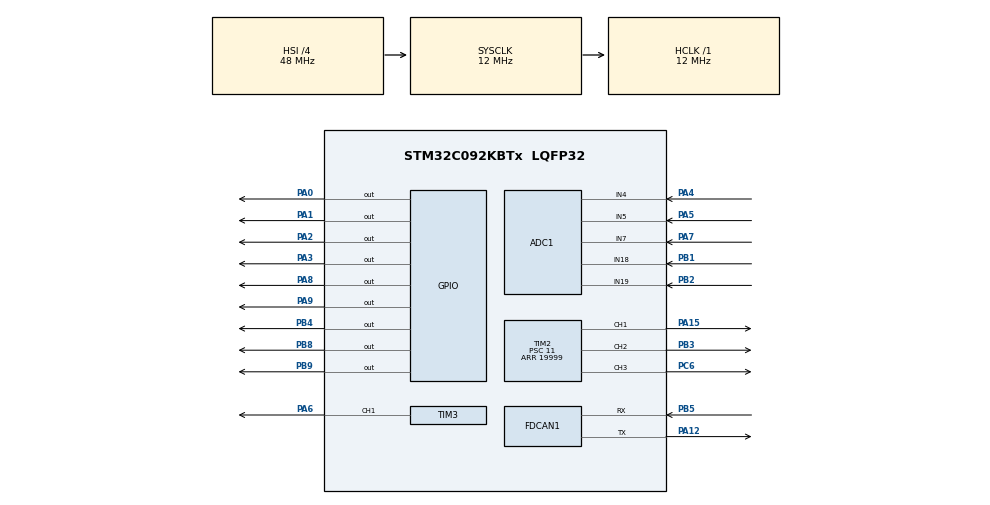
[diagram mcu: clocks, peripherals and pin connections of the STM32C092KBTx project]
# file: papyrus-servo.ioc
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ADC1.NbrOfConversionFlag=0
ADC1.SelectedChannel=ADC_CHANNEL_4|ADC_CHANNEL_5|ADC_CHANNEL_7|ADC_CHANNEL_18|ADC_CHANNEL_19
ADC1.master=1
FDCAN1.AutoRetransmission=ENABLE
FDCAN1.CalculateBaudRateNominal=250000
FDCAN1.CalculateTimeBitNominal=4000
FDCAN1.CalculateTimeQuantumNominal=250.0
FDCAN1.NominalPrescaler=4
FDCAN1.NominalTimeSeg1=13
FDCAN1.NominalTimeSeg2=2
FDCAN1.StdFiltersNbr=1
Mcu.Family=STM32C0
Mcu.Name=STM32C092KBTx
Mcu.Package=LQFP32
PA0.PinState=GPIO_PIN_SET
PA0.Signal=GPIO_Output
PA1.PinState=GPIO_PIN_SET
PA1.Signal=GPIO_Output
PA12\ [PA10].Mode=FDCAN_Activate
PA12\ [PA10].Signal=FDCAN1_TX
PA13.Mode=Serial_Wire
PA13.Signal=DEBUG_SWDIO
PA14-BOOT0.Mode=Serial_Wire
PA14-BOOT0.Signal=DEBUG_SWCLK
PA15.Signal=S_TIM2_CH1
PA2.PinState=GPIO_PIN_SET
PA2.Signal=GPIO_Output
PA3.PinState=GPIO_PIN_SET
PA3.Signal=GPIO_Output
PA4.Mode=IN4
PA4.Signal=ADC1_IN4
PA5.Mode=IN5
PA5.Signal=ADC1_IN5
PA6.Signal=S_TIM3_CH1
PA7.Mode=IN7
PA7.Signal=ADC1_IN7
PA8.Signal=GPIO_Output
PA9.Signal=GPIO_Output
PB1.Mode=IN18
PB1.Signal=ADC1_IN18
PB2.Mode=IN19
PB2.Signal=ADC1_IN19
PB3.Signal=S_TIM2_CH2
PB4.PinState=GPIO_PIN_SET
PB4.Signal=GPIO_Output
PB5.Mode=FDCAN_Activate
PB5.Signal=FDCAN1_RX
PB8.Signal=GPIO_Output
PB9.Signal=GPIO_Output
PC6.Signal=S_TIM2_CH3
ProjectManager.HeapSize=0x200
ProjectManager.StackSize=0x400
ProjectManager.TargetToolchain=Makefile
RCC.ADCFreq_Value=12000000
RCC.AHBFreq_Value=12000000
RCC.CortexFreq_Value=12000000
RCC.EXTERNAL_CLOCK_VALUE=12288000
RCC.FDCAN1CLockSelection=RCC_FDCAN1CLKSOURCE_HSIKER
RCC.HCLKFreq_Value=12000000
RCC.HSE_VALUE=8000000
RCC.HSI_VALUE=48000000
RCC.LSE_VALUE=32768
RCC.SYSCLKFreq_VALUE=12000000
SH.S_TIM2_CH1.0=TIM2_CH1,PWM Generation1 CH1
SH.S_TIM2_CH2.0=TIM2_CH2,PWM Generation2 CH2
SH.S_TIM2_CH3.0=TIM2_CH3,PWM Generation3 CH3
SH.S_TIM3_CH1.0=TIM3_CH1,PWM Generation1 CH1
TIM2.AutoReloadPreload=TIM_AUTORELOAD_PRELOAD_ENABLE
TIM2.Channel-PWM\ Generation1\ CH1=TIM_CHANNEL_1
TIM2.Channel-PWM\ Generation2\ CH2=TIM_CHANNEL_2
TIM2.Channel-PWM\ Generation3\ CH3=TIM_CHANNEL_3
TIM2.Period=19999
TIM2.Prescaler=11
TIM2.Pulse-PWM\ Generation1\ CH1=1500
TIM2.Pulse-PWM\ Generation2\ CH2=1500
TIM2.Pulse-PWM\ Generation3\ CH3=1500
TIM3.Channel-PWM\ Generation1\ CH1=TIM_CHANNEL_1
TIM3.Period=19999
TIM3.Prescaler=11
board=custom

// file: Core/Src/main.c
/* USER CODE BEGIN Header */
/**
  ******************************************************************************
  * @file           : main.c
  * @brief          : Main program body
  ******************************************************************************
  * @attention
  *
  * Copyright (c) 2026 STMicroelectronics.
  * All rights reserved.
  *
  * This software is licensed under terms that can be found in the LICENSE file
  * in the root directory of this software component.
  * If no LICENSE file comes with this software, it is provided AS-IS.
  *
  ******************************************************************************
  */
/* USER CODE END Header */
#include "main.h"

/* USER CODE BEGIN PD */
#define CAN_CMD_ID     200
/* USER CODE END PD */

ADC_HandleTypeDef hadc1;

FDCAN_HandleTypeDef hfdcan1;

TIM_HandleTypeDef htim2;
TIM_HandleTypeDef htim3;

void SystemClock_Config(void);
static void MX_GPIO_Init(void);
static void MX_ADC1_Init(void);
static void MX_FDCAN1_Init(void);
static void MX_TIM2_Init(void);
static void MX_TIM3_Init(void);

/* USER CODE BEGIN 0 */
void CAN_SendAck(uint8_t *data, uint8_t len)
{
  FDCAN_TxHeaderTypeDef txHeader = {0};

  txHeader.Identifier = CAN_CMD_ID;
  txHeader.IdType = FDCAN_STANDARD_ID;
  txHeader.TxFrameType = FDCAN_DATA_FRAME;
  txHeader.DataLength = len;
  txHeader.ErrorStateIndicator = FDCAN_ESI_ACTIVE;
  txHeader.BitRateSwitch = FDCAN_BRS_OFF;
  txHeader.FDFormat = FDCAN_CLASSIC_CAN;
  txHeader.TxEventFifoControl = FDCAN_NO_TX_EVENTS;
  txHeader.MessageMarker = 0;

  while (HAL_FDCAN_GetTxFifoFreeLevel(&hfdcan1) == 0);
  HAL_FDCAN_AddMessageToTxFifoQ(&hfdcan1, &txHeader, data);
}
/* USER CODE END 0 */

int main(void)
{

  /* MCU Configuration--------------------------------------------------------*/

  /* Reset of all peripherals, Initializes the Flash interface and the Systick. */
  HAL_Init();

  /* Configure the system clock */
  SystemClock_Config();

  /* Initialize all configured peripherals */
  MX_GPIO_Init();
  MX_ADC1_Init();
  MX_FDCAN1_Init();
  MX_TIM2_Init();
  MX_TIM3_Init();
  /* USER CODE BEGIN 2 */
  HAL_FDCAN_Start(&hfdcan1);
  HAL_TIM_PWM_Start(&htim2, TIM_CHANNEL_1);
  HAL_TIM_PWM_Start(&htim2, TIM_CHANNEL_2);
  HAL_TIM_PWM_Start(&htim2, TIM_CHANNEL_3);
  HAL_TIM_PWM_Start(&htim3, TIM_CHANNEL_1);

  FDCAN_RxHeaderTypeDef rxHeader;
  uint8_t rxData[8];
  uint8_t txData[8];

  /* USER CODE END 2 */

  /* Infinite loop */
  while (1)
  {

    /* USER CODE BEGIN 3 */
    if (HAL_FDCAN_GetRxFifoFillLevel(&hfdcan1, FDCAN_RX_FIFO0) > 0)
    {
      HAL_FDCAN_GetRxMessage(&hfdcan1, FDCAN_RX_FIFO0, &rxHeader, rxData);

      txData[0] = rxData[0];
      txData[1] = 0x00; // OK

      int servo_val = rxData[1] | (rxData[2] << 8);

      switch (rxData[0])
      {
        case 0x00:
          txData[1] = 0x02; break;
        case 0x01: HAL_GPIO_WritePin(GPIOA, GPIO_PIN_0, GPIO_PIN_SET);   break;
        case 0x02: HAL_GPIO_WritePin(GPIOA, GPIO_PIN_1, GPIO_PIN_SET);   break;
        case 0x03: HAL_GPIO_WritePin(GPIOA, GPIO_PIN_2, GPIO_PIN_SET);   break;
        case 0x04: HAL_GPIO_WritePin(GPIOA, GPIO_PIN_3, GPIO_PIN_SET);   break;
        case 0x05: HAL_GPIO_WritePin(GPIOA, GPIO_PIN_0, GPIO_PIN_RESET);   break;
        case 0x06: HAL_GPIO_WritePin(GPIOA, GPIO_PIN_1, GPIO_PIN_RESET);   break;
        case 0x07: HAL_GPIO_WritePin(GPIOA, GPIO_PIN_2, GPIO_PIN_RESET);   break;
        case 0x08: HAL_GPIO_WritePin(GPIOA, GPIO_PIN_3, GPIO_PIN_RESET);   break;
        case 0x11: TIM2->CCR1 = servo_val; break;
        case 0x12: TIM2->CCR2 = servo_val; break;
        case 0x13: TIM2->CCR3 = servo_val; break;
        case 0x14: TIM3->CCR1 = servo_val; break;
        case 0x15: *(uint16_t*)(&txData[1]) = TIM2->CCR1; CAN_SendAck(txData, 3);break;
        case 0x16: *(uint16_t*)(&txData[1]) = TIM2->CCR2; CAN_SendAck(txData, 3);break;
        case 0x17: *(uint16_t*)(&txData[1]) = TIM2->CCR3; CAN_SendAck(txData, 3);break;
        case 0x18: *(uint16_t*)(&txData[1]) = TIM3->CCR1; CAN_SendAck(txData, 3);break;
        case 0xFF:
          CAN_SendAck(txData, 2);
          HAL_Delay(10);
          NVIC_SystemReset();
          break;

        default:
          continue;
      }

      CAN_SendAck(txData, 2);
    }
  }
  /* USER CODE END 3 */
}

void SystemClock_Config(void)
{
  RCC_OscInitTypeDef RCC_OscInitStruct = {0};
  RCC_ClkInitTypeDef RCC_ClkInitStruct = {0};

  __HAL_FLASH_SET_LATENCY(FLASH_LATENCY_0);

  /** Initializes the RCC Oscillators according to the specified parameters
  * in the RCC_OscInitTypeDef structure.
  */
  RCC_OscInitStruct.OscillatorType = RCC_OSCILLATORTYPE_HSI;
  RCC_OscInitStruct.HSIState = RCC_HSI_ON;
  RCC_OscInitStruct.HSIDiv = RCC_HSI_DIV4;
  RCC_OscInitStruct.HSICalibrationValue = RCC_HSICALIBRATION_DEFAULT;
  if (HAL_RCC_OscConfig(&RCC_OscInitStruct) != HAL_OK)
  {
    Error_Handler();
  }

  /** Initializes the CPU, AHB and APB buses clocks
  */
  RCC_ClkInitStruct.ClockType = RCC_CLOCKTYPE_HCLK|RCC_CLOCKTYPE_SYSCLK
                              |RCC_CLOCKTYPE_PCLK1;
  RCC_ClkInitStruct.SYSCLKSource = RCC_SYSCLKSOURCE_HSI;
  RCC_ClkInitStruct.SYSCLKDivider = RCC_SYSCLK_DIV1;
  RCC_ClkInitStruct.AHBCLKDivider = RCC_HCLK_DIV1;
  RCC_ClkInitStruct.APB1CLKDivider = RCC_APB1_DIV1;

  if (HAL_RCC_ClockConfig(&RCC_ClkInitStruct, FLASH_LATENCY_0) != HAL_OK)
  {
    Error_Handler();
  }
}

static void MX_ADC1_Init(void)
{

  ADC_ChannelConfTypeDef sConfig = {0};

  /** Configure the global features of the ADC (Clock, Resolution, Data Alignment and number of conversion)
  */
  hadc1.Instance = ADC1;
  hadc1.Init.ClockPrescaler = ADC_CLOCK_SYNC_PCLK_DIV1;
  hadc1.Init.Resolution = ADC_RESOLUTION_12B;
  hadc1.Init.DataAlign = ADC_DATAALIGN_RIGHT;
  hadc1.Init.ScanConvMode = ADC_SCAN_SEQ_FIXED;
  hadc1.Init.EOCSelection = ADC_EOC_SINGLE_CONV;
  hadc1.Init.LowPowerAutoWait = DISABLE;
  hadc1.Init.LowPowerAutoPowerOff = DISABLE;
  hadc1.Init.ContinuousConvMode = DISABLE;
  hadc1.Init.NbrOfConversion = 1;
  hadc1.Init.DiscontinuousConvMode = DISABLE;
  hadc1.Init.ExternalTrigConv = ADC_SOFTWARE_START;
  hadc1.Init.ExternalTrigConvEdge = ADC_EXTERNALTRIGCONVEDGE_NONE;
  hadc1.Init.DMAContinuousRequests = DISABLE;
  hadc1.Init.Overrun = ADC_OVR_DATA_PRESERVED;
  hadc1.Init.SamplingTimeCommon1 = ADC_SAMPLETIME_1CYCLE_5;
  hadc1.Init.OversamplingMode = DISABLE;
  hadc1.Init.TriggerFrequencyMode = ADC_TRIGGER_FREQ_HIGH;
  if (HAL_ADC_Init(&hadc1) != HAL_OK)
  {
    Error_Handler();
  }

  /** Configure Regular Channel
  */
  sConfig.Channel = ADC_CHANNEL_4;
  sConfig.Rank = ADC_RANK_CHANNEL_NUMBER;
  if (HAL_ADC_ConfigChannel(&hadc1, &sConfig) != HAL_OK)
  {
    Error_Handler();
  }

  /** Configure Regular Channel
  */
  sConfig.Channel = ADC_CHANNEL_5;
  if (HAL_ADC_ConfigChannel(&hadc1, &sConfig) != HAL_OK)
  {
    Error_Handler();
  }

  /** Configure Regular Channel
  */
  sConfig.Channel = ADC_CHANNEL_7;
  if (HAL_ADC_ConfigChannel(&hadc1, &sConfig) != HAL_OK)
  {
    Error_Handler();
  }

  /** Configure Regular Channel
  */
  sConfig.Channel = ADC_CHANNEL_18;
  if (HAL_ADC_ConfigChannel(&hadc1, &sConfig) != HAL_OK)
  {
    Error_Handler();
  }

  /** Configure Regular Channel
  */
  sConfig.Channel = ADC_CHANNEL_19;
  if (HAL_ADC_ConfigChannel(&hadc1, &sConfig) != HAL_OK)
  {
    Error_Handler();
  }

}

static void MX_FDCAN1_Init(void)
{

  hfdcan1.Instance = FDCAN1;
  hfdcan1.Init.ClockDivider = FDCAN_CLOCK_DIV1;
  hfdcan1.Init.FrameFormat = FDCAN_FRAME_CLASSIC;
  hfdcan1.Init.Mode = FDCAN_MODE_NORMAL;
  hfdcan1.Init.AutoRetransmission = ENABLE;
  hfdcan1.Init.TransmitPause = DISABLE;
  hfdcan1.Init.ProtocolException = DISABLE;
  hfdcan1.Init.NominalPrescaler = 4;
  hfdcan1.Init.NominalSyncJumpWidth = 1;
  hfdcan1.Init.NominalTimeSeg1 = 13;
  hfdcan1.Init.NominalTimeSeg2 = 2;
  hfdcan1.Init.DataPrescaler = 1;
  hfdcan1.Init.DataSyncJumpWidth = 1;
  hfdcan1.Init.DataTimeSeg1 = 1;
  hfdcan1.Init.DataTimeSeg2 = 1;
  hfdcan1.Init.StdFiltersNbr = 1;
  hfdcan1.Init.ExtFiltersNbr = 0;
  hfdcan1.Init.TxFifoQueueMode = FDCAN_TX_FIFO_OPERATION;
  if (HAL_FDCAN_Init(&hfdcan1) != HAL_OK)
  {
    Error_Handler();
  }
  /* USER CODE BEGIN FDCAN1_Init 2 */
  FDCAN_FilterTypeDef filter = {0};
  filter.IdType = FDCAN_STANDARD_ID;
  filter.FilterIndex = 0;
  filter.FilterType = FDCAN_FILTER_DUAL;
  filter.FilterConfig = FDCAN_FILTER_TO_RXFIFO0;
  filter.FilterID1 = CAN_CMD_ID;
  filter.FilterID2 = 0;
  HAL_FDCAN_ConfigFilter(&hfdcan1, &filter);
  HAL_FDCAN_ConfigGlobalFilter(
    &hfdcan1,
    FDCAN_REJECT,  // Non-matching standard frames
    FDCAN_REJECT,  // Non-matching extended frames
    FDCAN_REJECT,  // Reject remote standard frames
    FDCAN_REJECT   // Reject remote extended frames
  );

  /* USER CODE END FDCAN1_Init 2 */

}

static void MX_TIM2_Init(void)
{

  TIM_MasterConfigTypeDef sMasterConfig = {0};
  TIM_OC_InitTypeDef sConfigOC = {0};

  htim2.Instance = TIM2;
  htim2.Init.Prescaler = 11;
  htim2.Init.CounterMode = TIM_COUNTERMODE_UP;
  htim2.Init.Period = 19999;
  htim2.Init.ClockDivision = TIM_CLOCKDIVISION_DIV1;
  htim2.Init.AutoReloadPreload = TIM_AUTORELOAD_PRELOAD_ENABLE;
  if (HAL_TIM_PWM_Init(&htim2) != HAL_OK)
  {
    Error_Handler();
  }
  sMasterConfig.MasterOutputTrigger = TIM_TRGO_RESET;
  sMasterConfig.MasterSlaveMode = TIM_MASTERSLAVEMODE_DISABLE;
  if (HAL_TIMEx_MasterConfigSynchronization(&htim2, &sMasterConfig) != HAL_OK)
  {
    Error_Handler();
  }
  sConfigOC.OCMode = TIM_OCMODE_PWM1;
  sConfigOC.Pulse = 1500;
  sConfigOC.OCPolarity = TIM_OCPOLARITY_HIGH;
  sConfigOC.OCFastMode = TIM_OCFAST_DISABLE;
  if (HAL_TIM_PWM_ConfigChannel(&htim2, &sConfigOC, TIM_CHANNEL_1) != HAL_OK)
  {
    Error_Handler();
  }
  if (HAL_TIM_PWM_ConfigChannel(&htim2, &sConfigOC, TIM_CHANNEL_2) != HAL_OK)
  {
    Error_Handler();
  }
  if (HAL_TIM_PWM_ConfigChannel(&htim2, &sConfigOC, TIM_CHANNEL_3) != HAL_OK)
  {
    Error_Handler();
  }
  HAL_TIM_MspPostInit(&htim2);

}

static void MX_TIM3_Init(void)
{

  TIM_MasterConfigTypeDef sMasterConfig = {0};
  TIM_OC_InitTypeDef sConfigOC = {0};

  htim3.Instance = TIM3;
  htim3.Init.Prescaler = 11;
  htim3.Init.CounterMode = TIM_COUNTERMODE_UP;
  htim3.Init.Period = 19999;
  htim3.Init.ClockDivision = TIM_CLOCKDIVISION_DIV1;
  htim3.Init.AutoReloadPreload = TIM_AUTORELOAD_PRELOAD_DISABLE;
  if (HAL_TIM_PWM_Init(&htim3) != HAL_OK)
  {
    Error_Handler();
  }
  sMasterConfig.MasterOutputTrigger = TIM_TRGO_RESET;
  sMasterConfig.MasterSlaveMode = TIM_MASTERSLAVEMODE_DISABLE;
  if (HAL_TIMEx_MasterConfigSynchronization(&htim3, &sMasterConfig) != HAL_OK)
  {
    Error_Handler();
  }
  sConfigOC.OCMode = TIM_OCMODE_PWM1;
  sConfigOC.Pulse = 0;
  sConfigOC.OCPolarity = TIM_OCPOLARITY_HIGH;
  sConfigOC.OCFastMode = TIM_OCFAST_DISABLE;
  if (HAL_TIM_PWM_ConfigChannel(&htim3, &sConfigOC, TIM_CHANNEL_1) != HAL_OK)
  {
    Error_Handler();
  }
  HAL_TIM_MspPostInit(&htim3);

}

static void MX_GPIO_Init(void)
{
  GPIO_InitTypeDef GPIO_InitStruct = {0};

  /* GPIO Ports Clock Enable */
  __HAL_RCC_GPIOB_CLK_ENABLE();
  __HAL_RCC_GPIOA_CLK_ENABLE();
  __HAL_RCC_GPIOC_CLK_ENABLE();

  /*Configure GPIO pin Output Level */
  HAL_GPIO_WritePin(GPIOB, GPIO_PIN_9|GPIO_PIN_8, GPIO_PIN_RESET);

  /*Configure GPIO pin Output Level */
  HAL_GPIO_WritePin(GPIOA, GPIO_PIN_0|GPIO_PIN_1|GPIO_PIN_2|GPIO_PIN_3, GPIO_PIN_SET);

  /*Configure GPIO pin Output Level */
  HAL_GPIO_WritePin(GPIOA, GPIO_PIN_8|GPIO_PIN_9, GPIO_PIN_RESET);

  /*Configure GPIO pin Output Level */
  HAL_GPIO_WritePin(GPIOB, GPIO_PIN_4, GPIO_PIN_SET);

  /*Configure GPIO pins : PB9 PB4 PB8 */
  GPIO_InitStruct.Pin = GPIO_PIN_9|GPIO_PIN_4|GPIO_PIN_8;
  GPIO_InitStruct.Mode = GPIO_MODE_OUTPUT_PP;
  GPIO_InitStruct.Pull = GPIO_NOPULL;
  GPIO_InitStruct.Speed = GPIO_SPEED_FREQ_LOW;
  HAL_GPIO_Init(GPIOB, &GPIO_InitStruct);

  /*Configure GPIO pins : PA0 PA1 PA2 PA3
                           PA8 PA9 */
  GPIO_InitStruct.Pin = GPIO_PIN_0|GPIO_PIN_1|GPIO_PIN_2|GPIO_PIN_3
                          |GPIO_PIN_8|GPIO_PIN_9;
  GPIO_InitStruct.Mode = GPIO_MODE_OUTPUT_PP;
  GPIO_InitStruct.Pull = GPIO_NOPULL;
  GPIO_InitStruct.Speed = GPIO_SPEED_FREQ_LOW;
  HAL_GPIO_Init(GPIOA, &GPIO_InitStruct);

}

void Error_Handler(void)
{
  __disable_irq();
  while (1)
  {
  }
}
